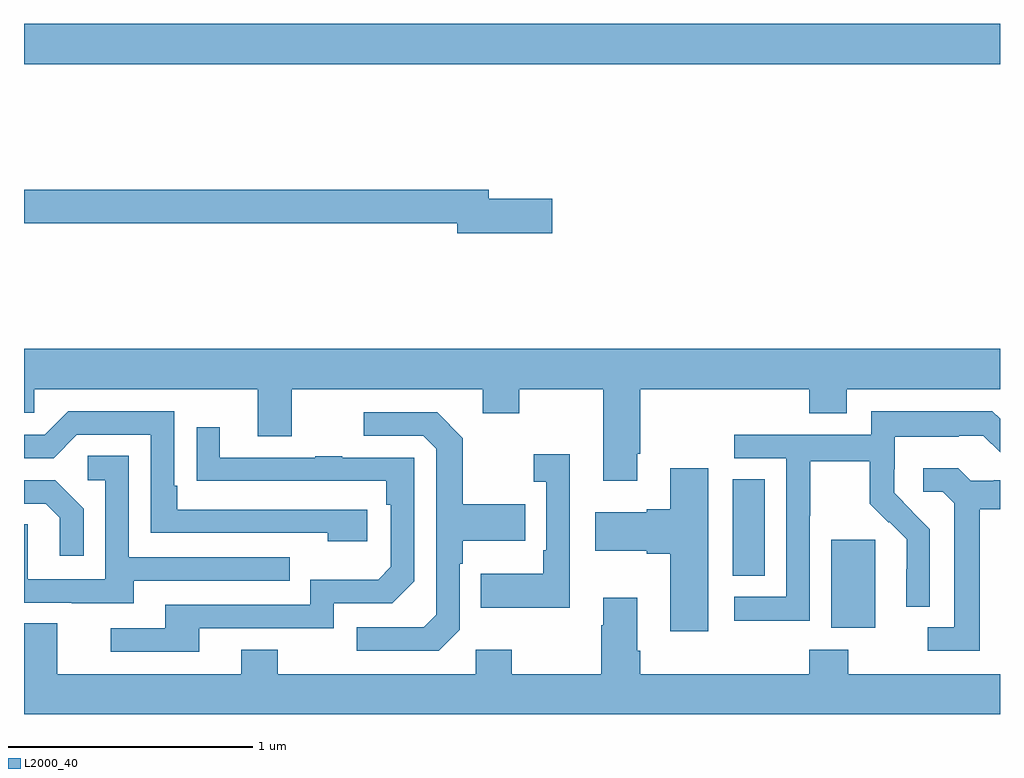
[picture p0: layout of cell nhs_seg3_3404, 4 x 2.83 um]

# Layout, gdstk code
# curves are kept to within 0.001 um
import gdstk
lib = gdstk.Library(unit=1e-6, precision=1e-09)
def R(c, l, rs):  # rectangles x0, y0, x1, y1
    for r in rs: c.add(gdstk.rectangle(r[:2], r[2:], *l))
def P(c, l, *ps):  # polygons
    for p in ps: c.add(gdstk.Polygon(p, *l))
L2000_40 = (2000, 40)

nhs_seg3_3404 = lib.new_cell('nhs_seg3_3404')
R(nhs_seg3_3404, L2000_40, [(290.309,731.906,290.488,732.267), (289.904,732.118,290.035,732.515), (287,734.216,291,734.38)])
P(nhs_seg3_3404, L2000_40, [(289.165,733.664),(288.904,733.664),(288.904,733.7),(287,733.7),(287,733.564),(288.776,733.564),(288.776,733.522),(289.165,733.522)],
  [(289.513,732.619),(289.526,732.619),(289.526,732.884),(290.219,732.884),(290.219,732.785),(290.371,732.785),(290.371,732.884),(291,732.884),(291,733.048),(287,733.048),(287,732.786),(287.043,732.786),(287.043,732.884),(287.957,732.884),(287.957,732.69),(288.097,732.69),(288.097,732.884),(288.881,732.884),(288.881,732.785),(289.029,732.785),(289.029,732.884),(289.373,732.884),(289.373,732.507),(289.513,732.507)],
  [(290.22,732.364),(290.223,732.364),(290.223,732.588),(290.467,732.588),(290.467,732.413),(290.544,732.336),(290.547,732.339),(290.618,732.269),(290.618,732.146),(290.616,732.146),(290.616,731.992),(290.712,731.992),(290.712,732.31),(290.566,732.458),(290.566,732.555),(290.568,732.555),(290.568,732.689),(290.831,732.689),(290.831,732.693),(290.931,732.693),(291,732.624),(291,732.762),(290.969,732.793),(290.472,732.793),(290.472,732.696),(289.911,732.696),(289.911,732.6),(290.124,732.6),(290.124,732.033),(289.911,732.033),(289.911,731.935),(290.22,731.935)],
  [(288.406,732.39),(287.629,732.39),(287.629,732.487),(287.616,732.487),(287.616,732.792),(287.181,732.792),(287.085,732.696),(287,732.696),(287,732.6),(287.121,732.6),(287.217,732.696),(287.52,732.696),(287.52,732.294),(288.245,732.294),(288.245,732.26),(288.406,732.26)],
  [(288.786,731.898),(288.786,732.167),(288.799,732.167),(288.799,732.263),(289.055,732.263),(289.055,732.411),(288.799,732.411),(288.799,732.683),(288.693,732.789),(288.393,732.789),(288.393,732.693),(288.636,732.693),(288.69,732.639),(288.69,731.958),(288.639,731.907),(288.363,731.907),(288.363,731.811),(288.699,731.811)],
  [(287.719,731.904),(288.27,731.904),(288.27,732.006),(288.51,732.006),(288.6,732.096),(288.6,732.603),(288.305,732.603),(288.305,732.608),(288.193,732.608),(288.193,732.603),(287.803,732.603),(287.803,732.727),(287.707,732.727),(287.707,732.508),(288.484,732.507),(288.484,732.41),(288.504,732.41),(288.504,732.156),(288.451,732.103),(288.174,732.103),(288.174,732),(287.579,732),(287.579,731.904),(287.355,731.904),(287.355,731.808),(287.719,731.808)],
  [(289.236,732.616),(289.089,732.616),(289.089,732.503),(289.14,732.503),(289.14,732.223),(289.128,732.223),(289.128,732.127),(288.871,732.127),(288.871,731.987),(289.236,731.987)],
  [(287.449,732.099),(288.089,732.099),(288.089,732.195),(287.43,732.195),(287.43,732.611),(287.262,732.611),(287.262,732.51),(287.334,732.51),(287.334,732.105),(287.016,732.105),(287.016,732.329),(287,732.329),(287,732.009),(287.195,732.009),(287.195,732.005),(287.449,732.005)],
  [(290.917,732.392),(291,732.392),(291,732.51),(290.974,732.51),(290.974,732.507),(290.88,732.507),(290.828,732.559),(290.685,732.559),(290.685,732.462),(290.766,732.462),(290.813,732.415),(290.813,731.907),(290.703,731.907),(290.703,731.811),(290.917,731.811)],
  [(289.804,732.559),(289.649,732.559),(289.649,732.392),(289.553,732.392),(289.553,732.379),(289.341,732.379),(289.341,732.221),(289.553,732.221),(289.553,732.209),(289.649,732.209),(289.649,731.892),(289.804,731.892)],
  [(287.244,732.394),(287.128,732.51),(287,732.51),(287,732.414),(287.09,732.414),(287.147,732.357),(287.147,732.201),(287.244,732.201)],
  [(291,731.716),(290.379,731.716),(290.379,731.815),(290.219,731.815),(290.219,731.716),(289.526,731.716),(289.526,731.812),(289.513,731.812),(289.513,732.028),(289.373,732.028),(289.373,731.915),(289.366,731.915),(289.366,731.716),(288.999,731.716),(288.999,731.815),(288.852,731.815),(288.852,731.716),(288.039,731.716),(288.039,731.815),(287.891,731.815),(287.891,731.716),(287.137,731.716),(287.137,731.924),(287,731.924),(287,731.552),(291,731.552)])

lib.write_gds('nhs_seg3_3404.gds')
